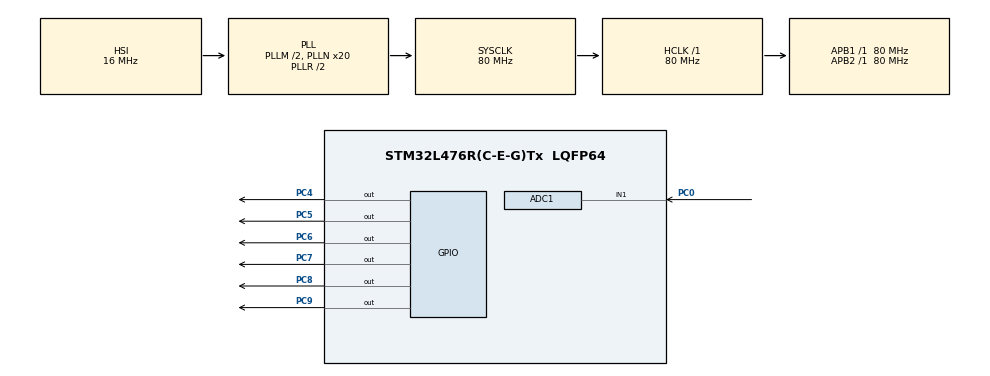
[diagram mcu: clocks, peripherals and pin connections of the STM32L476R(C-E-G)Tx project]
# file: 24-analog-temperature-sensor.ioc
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ADC1.Channel-0\#ChannelRegularConversion=ADC_CHANNEL_1
ADC1.NbrOfConversionFlag=1
ADC1.OffsetNumber-0\#ChannelRegularConversion=ADC_OFFSET_NONE
ADC1.Overrun=ADC_OVR_DATA_OVERWRITTEN
ADC1.Rank-0\#ChannelRegularConversion=1
ADC1.SamplingTime-0\#ChannelRegularConversion=ADC_SAMPLETIME_2CYCLES_5
ADC1.master=1
Mcu.Family=STM32L4
Mcu.Name=STM32L476R(C-E-G)Tx
Mcu.Package=LQFP64
NVIC.PriorityGroup=NVIC_PRIORITYGROUP_4
PC0.Signal=ADCx_IN1
PC4.Signal=GPIO_Output
PC5.Signal=GPIO_Output
PC6.Signal=GPIO_Output
PC7.Signal=GPIO_Output
PC8.Signal=GPIO_Output
PC9.Signal=GPIO_Output
ProjectManager.HeapSize=0x200
ProjectManager.StackSize=0x400
ProjectManager.TargetToolchain=STM32CubeIDE
RCC.ADCFreq_Value=32000000
RCC.AHBFreq_Value=80000000
RCC.APB1Freq_Value=80000000
RCC.APB1TimFreq_Value=80000000
RCC.APB2Freq_Value=80000000
RCC.APB2TimFreq_Value=80000000
RCC.CortexFreq_Value=80000000
RCC.HCLKFreq_Value=80000000
RCC.HSE_VALUE=8000000
RCC.HSI_VALUE=16000000
RCC.MSI_VALUE=4000000
RCC.PLLM=2
RCC.PLLN=20
RCC.PLLSourceVirtual=RCC_PLLSOURCE_HSI
RCC.PREFETCH_ENABLE=1
RCC.SYSCLKFreq_VALUE=80000000
RCC.SYSCLKSource=RCC_SYSCLKSOURCE_PLLCLK
RCC.USBFreq_Value=32000000
RCC.VCOOutputFreq_Value=160000000
SH.ADCx_IN1.0=ADC1_IN1,IN1-Single-Ended
board=NUCLEO-L476RG

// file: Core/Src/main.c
/* USER CODE BEGIN Header */
/**
  ******************************************************************************
  * @file           : main.c
  * @brief          : Main program body
  ******************************************************************************
  * @attention
  *
  * Copyright (c) 2025 STMicroelectronics.
  * All rights reserved.
  *
  * This software is licensed under terms that can be found in the LICENSE file
  * in the root directory of this software component.
  * If no LICENSE file comes with this software, it is provided AS-IS.
  *
  ******************************************************************************
  */
/* USER CODE END Header */
#include "main.h"

/* USER CODE BEGIN Includes */
#include "lcd.h"
/* USER CODE END Includes */

ADC_HandleTypeDef hadc1;

void SystemClock_Config(void);
static void MX_GPIO_Init(void);
static void MX_ADC1_Init(void);

int main(void)
{

  /* MCU Configuration--------------------------------------------------------*/

  /* Reset of all peripherals, Initializes the Flash interface and the Systick. */
  HAL_Init();

  /* Configure the system clock */
  SystemClock_Config();

  /* Initialize all configured peripherals */
  MX_GPIO_Init();
  MX_ADC1_Init();
  /* USER CODE BEGIN 2 */
  char Buff[10];
  float Temperature;
  uint32_t ADCResult;
  LCD_initial();    //LCD initialize
  LCD_GoTo_Position(0, 0);    //move to row 1 position of LCD
  LCD_Puts("Temperature");    //display "Temperature"
  HAL_ADC_Start(&hadc1);    //start ADC
  /* USER CODE END 2 */

  /* Infinite loop */
  /* USER CODE BEGIN WHILE */
  while (1)
  {
    HAL_ADC_PollForConversion(&hadc1, 100);    //poll and conversion from ADC
    ADCResult = HAL_ADC_GetValue(&hadc1);    //get value from ADC
    Temperature = ((float)ADCResult) * 3300.0 / 4095.0;    //convert 12-bit
    Temperature = (Temperature-500) / 10.0;    //calculate temperature value
    LCD_GoTo_Position(1, 0);    //move to row 2 position of LCD
    sprintf(Buff, "%5.2f", Temperature);    //convert value type
    LCD_Puts(Buff);    //display temperature value
    HAL_Delay(5000);    //delay
    /* USER CODE END WHILE */

  }
}

void SystemClock_Config(void)
{
  RCC_OscInitTypeDef RCC_OscInitStruct = {0};
  RCC_ClkInitTypeDef RCC_ClkInitStruct = {0};

  /** Configure the main internal regulator output voltage
  */
  if (HAL_PWREx_ControlVoltageScaling(PWR_REGULATOR_VOLTAGE_SCALE1) != HAL_OK)
  {
    Error_Handler();
  }

  /** Initializes the RCC Oscillators according to the specified parameters
  * in the RCC_OscInitTypeDef structure.
  */
  RCC_OscInitStruct.OscillatorType = RCC_OSCILLATORTYPE_HSI;
  RCC_OscInitStruct.HSIState = RCC_HSI_ON;
  RCC_OscInitStruct.HSICalibrationValue = RCC_HSICALIBRATION_DEFAULT;
  RCC_OscInitStruct.PLL.PLLState = RCC_PLL_ON;
  RCC_OscInitStruct.PLL.PLLSource = RCC_PLLSOURCE_HSI;
  RCC_OscInitStruct.PLL.PLLM = 2;
  RCC_OscInitStruct.PLL.PLLN = 20;
  RCC_OscInitStruct.PLL.PLLP = RCC_PLLP_DIV7;
  RCC_OscInitStruct.PLL.PLLQ = RCC_PLLQ_DIV2;
  RCC_OscInitStruct.PLL.PLLR = RCC_PLLR_DIV2;
  if (HAL_RCC_OscConfig(&RCC_OscInitStruct) != HAL_OK)
  {
    Error_Handler();
  }

  /** Initializes the CPU, AHB and APB buses clocks
  */
  RCC_ClkInitStruct.ClockType = RCC_CLOCKTYPE_HCLK|RCC_CLOCKTYPE_SYSCLK
                              |RCC_CLOCKTYPE_PCLK1|RCC_CLOCKTYPE_PCLK2;
  RCC_ClkInitStruct.SYSCLKSource = RCC_SYSCLKSOURCE_PLLCLK;
  RCC_ClkInitStruct.AHBCLKDivider = RCC_SYSCLK_DIV1;
  RCC_ClkInitStruct.APB1CLKDivider = RCC_HCLK_DIV1;
  RCC_ClkInitStruct.APB2CLKDivider = RCC_HCLK_DIV1;

  if (HAL_RCC_ClockConfig(&RCC_ClkInitStruct, FLASH_LATENCY_4) != HAL_OK)
  {
    Error_Handler();
  }
}

static void MX_ADC1_Init(void)
{

  ADC_MultiModeTypeDef multimode = {0};
  ADC_ChannelConfTypeDef sConfig = {0};

  /** Common config
  */
  hadc1.Instance = ADC1;
  hadc1.Init.ClockPrescaler = ADC_CLOCK_ASYNC_DIV1;
  hadc1.Init.Resolution = ADC_RESOLUTION_12B;
  hadc1.Init.DataAlign = ADC_DATAALIGN_RIGHT;
  hadc1.Init.ScanConvMode = ADC_SCAN_DISABLE;
  hadc1.Init.EOCSelection = ADC_EOC_SINGLE_CONV;
  hadc1.Init.LowPowerAutoWait = DISABLE;
  hadc1.Init.ContinuousConvMode = DISABLE;
  hadc1.Init.NbrOfConversion = 1;
  hadc1.Init.DiscontinuousConvMode = DISABLE;
  hadc1.Init.ExternalTrigConv = ADC_SOFTWARE_START;
  hadc1.Init.ExternalTrigConvEdge = ADC_EXTERNALTRIGCONVEDGE_NONE;
  hadc1.Init.DMAContinuousRequests = DISABLE;
  hadc1.Init.Overrun = ADC_OVR_DATA_OVERWRITTEN;
  hadc1.Init.OversamplingMode = DISABLE;
  if (HAL_ADC_Init(&hadc1) != HAL_OK)
  {
    Error_Handler();
  }

  /** Configure the ADC multi-mode
  */
  multimode.Mode = ADC_MODE_INDEPENDENT;
  if (HAL_ADCEx_MultiModeConfigChannel(&hadc1, &multimode) != HAL_OK)
  {
    Error_Handler();
  }

  /** Configure Regular Channel
  */
  sConfig.Channel = ADC_CHANNEL_1;
  sConfig.Rank = ADC_REGULAR_RANK_1;
  sConfig.SamplingTime = ADC_SAMPLETIME_2CYCLES_5;
  sConfig.SingleDiff = ADC_SINGLE_ENDED;
  sConfig.OffsetNumber = ADC_OFFSET_NONE;
  sConfig.Offset = 0;
  if (HAL_ADC_ConfigChannel(&hadc1, &sConfig) != HAL_OK)
  {
    Error_Handler();
  }

}

static void MX_GPIO_Init(void)
{
  GPIO_InitTypeDef GPIO_InitStruct = {0};

  /* GPIO Ports Clock Enable */
  __HAL_RCC_GPIOC_CLK_ENABLE();

  /*Configure GPIO pin Output Level */
  HAL_GPIO_WritePin(GPIOC, GPIO_PIN_4|GPIO_PIN_5|GPIO_PIN_6|GPIO_PIN_7
                          |GPIO_PIN_8|GPIO_PIN_9, GPIO_PIN_RESET);

  /*Configure GPIO pins : PC4 PC5 PC6 PC7
                           PC8 PC9 */
  GPIO_InitStruct.Pin = GPIO_PIN_4|GPIO_PIN_5|GPIO_PIN_6|GPIO_PIN_7
                          |GPIO_PIN_8|GPIO_PIN_9;
  GPIO_InitStruct.Mode = GPIO_MODE_OUTPUT_PP;
  GPIO_InitStruct.Pull = GPIO_NOPULL;
  GPIO_InitStruct.Speed = GPIO_SPEED_FREQ_LOW;
  HAL_GPIO_Init(GPIOC, &GPIO_InitStruct);

}

void Error_Handler(void)
{
  __disable_irq();
  while (1)
  {
  }
}
